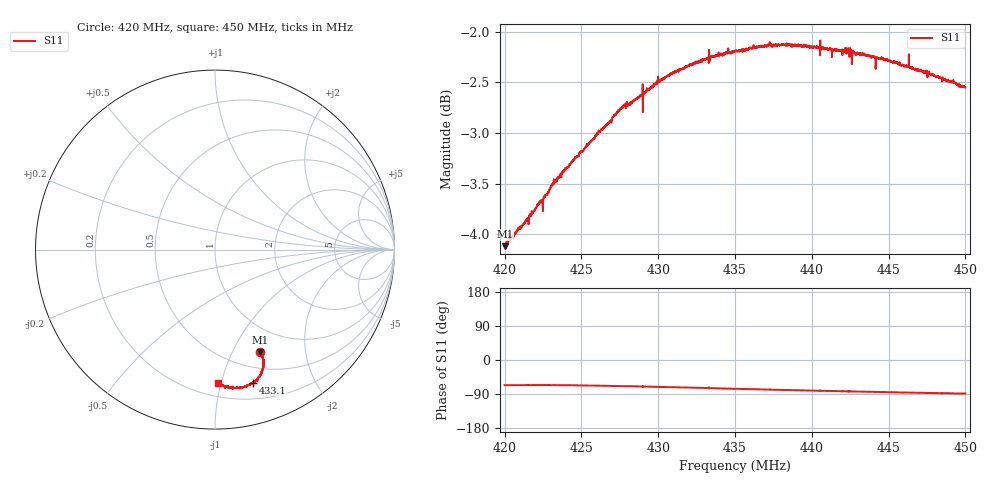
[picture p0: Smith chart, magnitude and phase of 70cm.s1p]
! Calibrated averaged scanner-service zoom
# Hz S RI R 50
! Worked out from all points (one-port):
!   3001 points, 420 MHz to 450 MHz, reference 50 ohm
!   lowest |S11| = -4.1 dB at 420 MHz (marker M1), VSWR 4.30, Z = 34.4 - j64.1 ohm
!   |S11| at or under -10 dB: nowhere
!   S11 on the Smith chart (normalised r, x): 420 MHz: 0.69, -1.28; 433.1 MHz: 0.35, -1.27; 450 MHz: 0.29, -0.98
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4.2e8  0.2488 -0.5708
4.2001e8  0.2488 -0.5705
4.2236e8  0.2652 -0.5996
4.2375e8  0.2705 -0.6204
4.2605e8  0.2674 -0.6545
4.2685e8  0.2661 -0.6668
4.275e8  0.2626 -0.6781
4.2785e8  0.261 -0.683
4.2817e8  0.2605 -0.6845
4.2915e8  0.254 -0.6968
4.2985e8  0.2474 -0.7066
4.3012e8  0.2434 -0.7105
4.3125e8  0.2336 -0.7234
4.3307e8  0.2123 -0.7403
4.3315e8  0.2112 -0.7411
4.35e8  0.1902 -0.7534
4.3699e8  0.1634 -0.764
4.3726e8  0.1748 -0.7655
4.3748e8  0.1573 -0.7662
4.3875e8  0.1428 -0.7689
4.4041e8  0.1214 -0.7709
4.4185e8  0.1027 -0.7707
4.425e8  0.0989 -0.7734
4.4336e8  0.0855 -0.7698
4.4429e8  0.0757 -0.7678
4.4625e8  0.0546 -0.7619
4.4835e8  0.0336 -0.7532
4.5e8  0.0187 -0.7453
